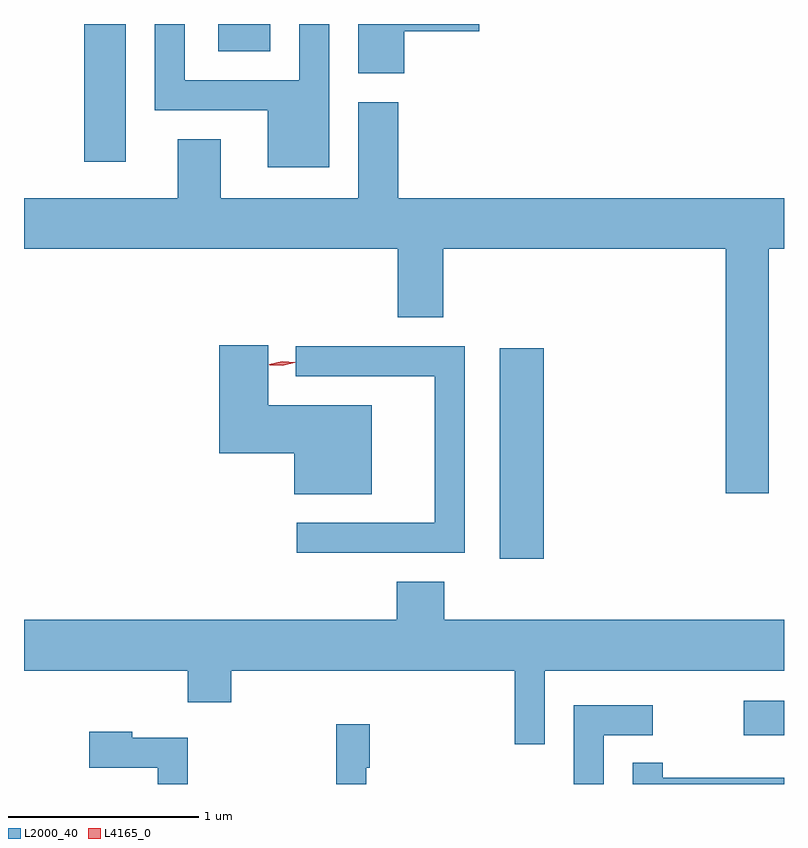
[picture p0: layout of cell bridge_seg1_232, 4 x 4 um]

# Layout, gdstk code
import gdstk
lib = gdstk.Library(unit=1e-6, precision=1e-09)
def R(c, l, rs):  # rectangles x0, y0, x1, y1
    for r in rs: c.add(gdstk.rectangle(r[:2], r[2:], *l))
def P(c, l, *ps):  # polygons
    for p in ps: c.add(gdstk.Polygon(p, *l))
L2000_40 = (2000, 40)
L4165_0 = (4165, 0)

bridge_seg1_232 = lib.new_cell('bridge_seg1_232')
R(bridge_seg1_232, L2000_40, [(778.576,894.796,778.788,894.979), (777.291,895.726,777.524,896.834), (775.106,897.816,775.324,898.54), (775.811,898.396,776.084,898.54)])
P(bridge_seg1_232, L2000_40, [(776.789,898.501),(777.184,898.501),(777.184,898.54),(776.546,898.54),(776.546,898.281),(776.789,898.281)],
  [(776.394,898.54),(776.236,898.54),(776.236,898.244),(775.634,898.244),(775.634,898.54),(775.476,898.54),(775.476,898.086),(776.071,898.086),(776.071,897.786),(776.394,897.786)],
  [(778.709,897.356),(778.788,897.356),(778.788,897.624),(776.759,897.624),(776.759,898.129),(776.546,898.129),(776.546,897.624),(775.824,897.624),(775.824,897.934),(775.596,897.934),(775.596,897.624),(774.788,897.624),(774.788,897.356),(776.756,897.356),(776.756,896.996),(776.994,896.996),(776.994,897.356),(778.481,897.356),(778.481,896.071),(778.709,896.071)],
  [(776.619,896.534),(776.074,896.534),(776.074,896.849),(775.816,896.849),(775.816,896.281),(776.211,896.281),(776.211,896.066),(776.619,896.066)],
  [(777.109,896.844),(776.218,896.844),(776.218,896.686),(776.951,896.686),(776.951,895.914),(776.223,895.914),(776.223,895.756),(777.109,895.756)],
  [(777.529,895.136),(778.788,895.136),(778.788,895.404),(776.999,895.404),(776.999,895.604),(776.751,895.604),(776.751,895.404),(774.788,895.404),(774.788,895.136),(775.651,895.136),(775.651,894.971),(775.879,894.971),(775.879,895.136),(777.371,895.136),(777.371,894.748),(777.529,894.748)],
  [(777.839,894.796),(778.098,894.796),(778.098,894.954),(777.681,894.954),(777.681,894.54),(777.839,894.54)],
  [(776.589,894.626),(776.609,894.626),(776.609,894.854),(776.431,894.854),(776.431,894.54),(776.589,894.54)],
  [(775.649,894.784),(775.359,894.784),(775.359,894.814),(775.131,894.814),(775.131,894.626),(775.491,894.626),(775.491,894.54),(775.649,894.54)],
  [(778.788,894.574),(778.149,894.574),(778.149,894.653),(777.991,894.653),(777.991,894.54),(778.788,894.54)])
P(bridge_seg1_232, L4165_0, [(776.148,896.741),(776.081,896.744),(776.081,896.745),(776.081,896.745),(776.146,896.761),(776.212,896.758),(776.213,896.758),(776.212,896.757)],
  [(776.148,896.744),(776.078,896.746),(776.078,896.747),(776.078,896.748),(776.146,896.764),(776.215,896.761),(776.216,896.76),(776.215,896.76)])

lib.write_gds('bridge_seg1_232.gds')
